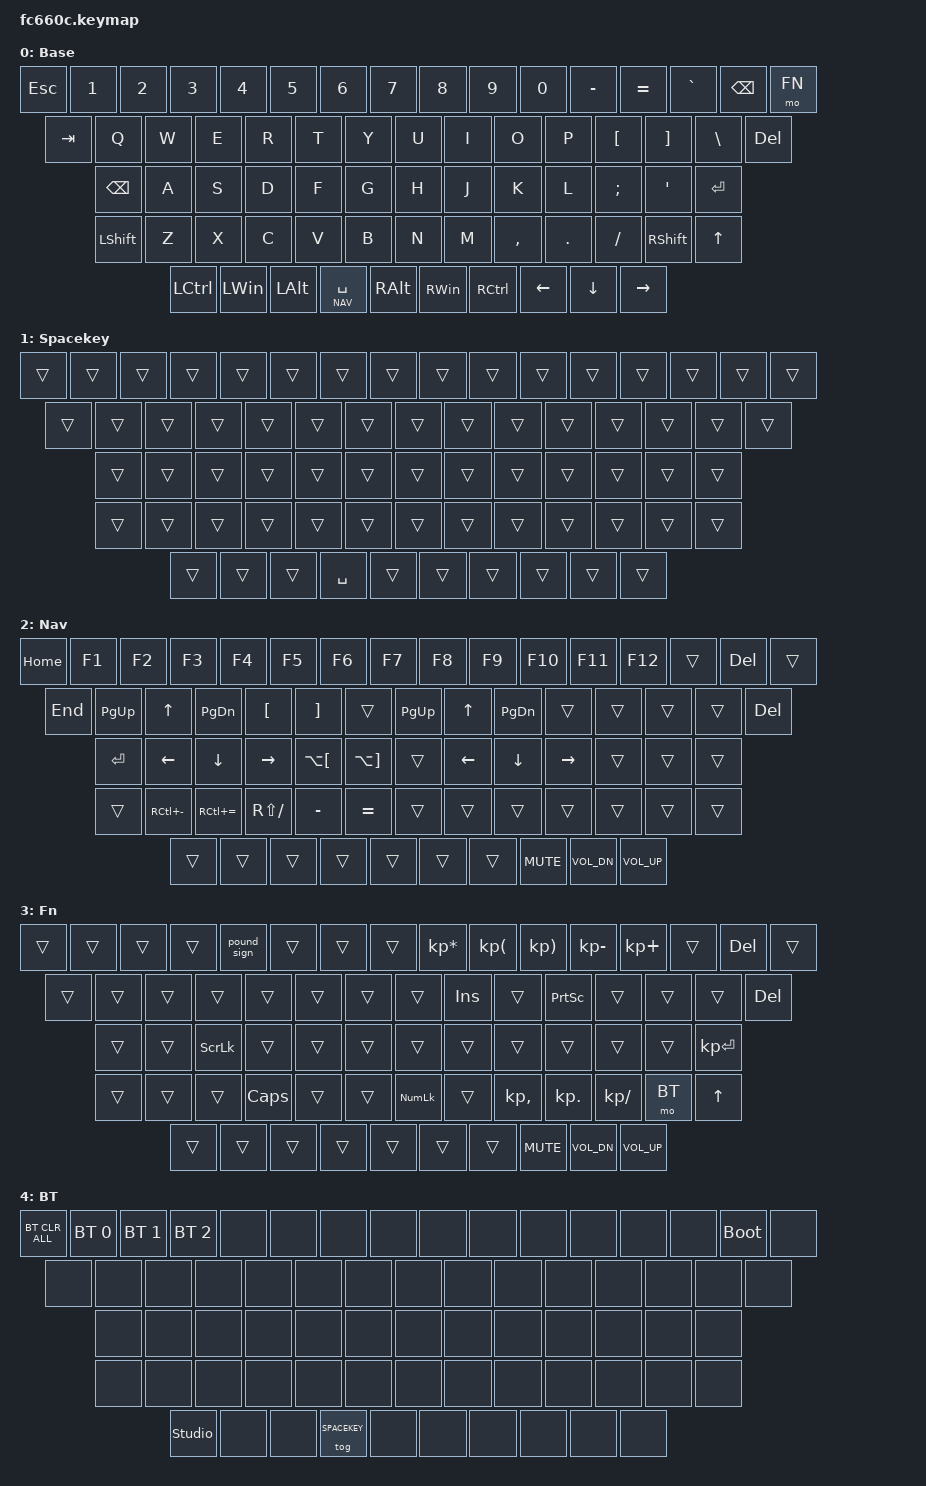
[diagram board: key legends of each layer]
/*
 * Copyright (c) 2020 The ZMK Contributors
 *
 * SPDX-License-Identifier: MIT
 */

#include <behaviors.dtsi>
#include <dt-bindings/zmk/keys.h>
#include <dt-bindings/zmk/bt.h>

&lt {
    tapping-term-ms = <180>;
};

#define DEFAULT 0
#define SPACEKEY 1
#define NAV 2
#define FN 3
#define BT 4

/ {
    macros {
        pound_sign: pound_sign {
            compatible = "zmk,behavior-macro";
            #binding-cells = <0>;
            bindings
                = <&macro_press &kp LALT>
                , <&macro_tap &kp KP_N0 &kp KP_N1 &kp KP_N6 &kp KP_N3>
                , <&macro_release &kp LALT>
                ;
        };
    };

    keymap {
        compatible = "zmk,keymap";
        default_layer {
            label = "Base";
            bindings = <
                &kp ESC     &kp N1  &kp N2  &kp N3  &kp N4  &kp N5  &kp N6  &kp N7  &kp N8  &kp N9  &kp N0  &kp MINUS  &kp EQUAL  &kp GRAVE       &kp BSPC      &mo FN
                &kp TAB            &kp Q  &kp W  &kp E  &kp R  &kp T  &kp Y  &kp U  &kp I  &kp O  &kp P  &kp LBKT  &kp RBKT                       &kp BSLH      &kp DEL
                &kp BSPC                &kp A  &kp S  &kp D  &kp F  &kp G  &kp H  &kp J  &kp K  &kp L  &kp SEMI &kp SQT                           &kp RET
                &kp LSHFT                   &kp Z  &kp X  &kp C  &kp V  &kp B  &kp N  &kp M  &kp COMMA &kp DOT &kp FSLH             &kp RSHIFT    &kp UP
                &kp LCTRL  &kp LWIN   &kp LALT                   &lt NAV SPACE                &kp RALT  &kp RWIN    &kp RCTRL       &kp LEFT      &kp DOWN      &kp RIGHT
            >;
        };

        spacekey_layer {
            label = "Spacekey";
            bindings = <
                &trans     &trans   &trans  &trans  &trans  &trans  &trans  &trans  &trans  &trans  &trans  &trans  &trans  &trans                         &trans        &trans
                &trans          &trans &trans &trans &trans &trans &trans &trans &trans &trans &trans &trans &trans                                        &trans        &trans
                &trans            &trans &trans  &trans  &trans  &trans  &trans  &trans  &trans  &trans  &trans &trans                                     &trans
                &trans                  &trans &trans &trans &trans &trans &trans &trans &trans &trans &trans                                              &trans        &trans
                &trans      &trans      &trans                              &kp SPACE                              &trans     &trans     &trans            &trans        &trans     &trans
            >;
        };

        nav_layer {
            label = "Nav";
            bindings = <
                &kp HOME     &kp F1  &kp F2  &kp F3  &kp F4  &kp F5  &kp F6  &kp F7  &kp F8  &kp F9  &kp F10  &kp F11  &kp F12      &trans        &kp DEL       &trans
                &kp END             &kp PG_UP &kp UP &kp PG_DN &kp LBKT &kp RBKT &trans &kp PG_UP &kp UP &kp PG_DN &trans &trans &trans           &trans        &kp DEL
                &kp ENTER             &kp LEFT &kp DOWN &kp RIGHT &kp LA(LBKT) &kp LA(RBKT) &trans &kp LEFT &kp DOWN &kp RIGHT &trans &trans      &trans
                &trans        &kp RC(MINUS) &kp RC(EQUAL) &kp RS(SLASH) &kp MINUS &kp EQUAL &trans &trans &trans &trans &trans          &trans    &trans
                &trans      &trans      &trans                        &trans                        &trans     &trans     &trans    &kp C_MUTE    &kp C_VOL_DN  &kp C_VOL_UP
            >;
        };

        fn_layer {
            label = "Fn";
            bindings = <
                &trans    &trans &trans &trans &pound_sign &trans &trans &trans &kp KP_ASTERISK &kp KP_LPAR &kp KP_RPAR &kp KP_MINUS &kp KP_PLUS &trans    &kp DEL       &trans
                &trans        &trans &trans &trans &trans &trans &trans &trans &kp INS &trans &kp PSCRN &trans &trans                                      &trans        &kp DEL
                &trans              &trans &kp SLCK &trans &trans &trans &trans &trans &trans &trans &trans &trans                                         &kp KP_ENTER
                &trans                  &trans &trans &kp CAPS &trans &trans &kp KP_NLCK &trans &kp KP_COMMA &kp KP_DOT &kp KP_SLASH                       &mo BT        &kp UP
                &trans      &trans      &trans                              &trans                                 &trans     &trans     &trans            &kp C_MUTE    &kp C_VOL_DN  &kp C_VOL_UP
            >;
        };
        
        bt_layer {
            label = "BT";
            bindings = <
                &bt BT_CLR_ALL &bt BT_SEL 0 &bt BT_SEL 1 &bt BT_SEL 2 &none &none &none &none &none &none &none &none &none &none          &bootloader       &none
                &none           &none &none &none &none &none &none &none &none &none &none &none &none                                    &none             &none
                &none               &none &none &none &none &none &none &none &none &none &none &none                                      &none
                &none                   &none &none &none &none &none &none &none &none &none &none                                        &none             &none
                &studio_unlock     &none      &none                                &tog SPACEKEY                                &none     &none     &none    &none    &none   &none
            >;
        };
    }; 
};
